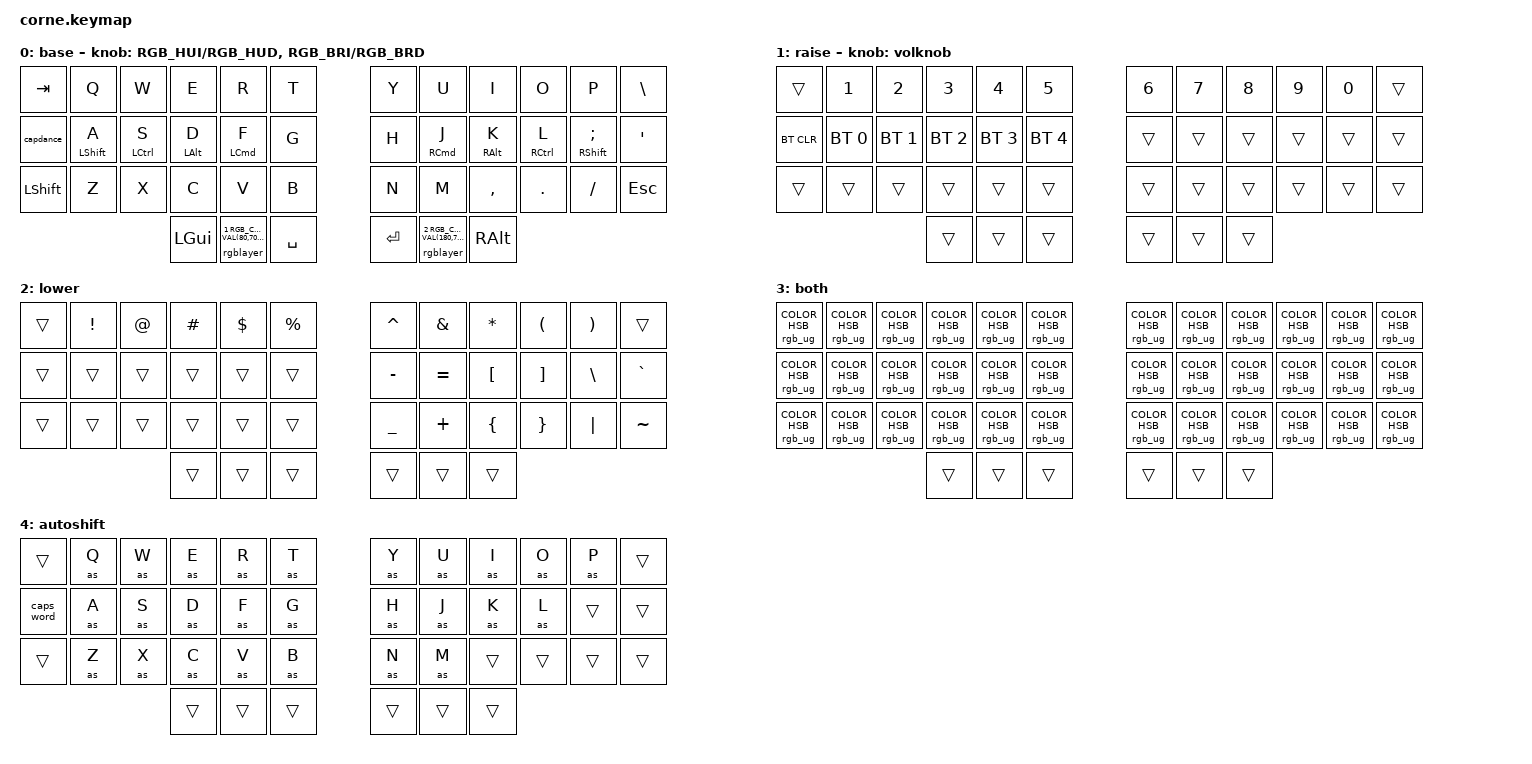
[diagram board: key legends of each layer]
#include <behaviors.dtsi>
#include <dt-bindings/zmk/bt.h>
#include <dt-bindings/zmk/keys.h>
#include <dt-bindings/zmk/rgb.h>

// dt-formatter: indent = "  "
// dt-formatter: multilineIntegerCellsIndent = "reindent"
// dt-formatter: multilineListCommaStyle = "leading"

&sk { /delete-property/ ignore-modifiers; };

/ {
  combos {
    compatible = "zmk,combos";

    tab {
      key-positions = <2 3>;
      bindings = <&kp TAB>;
    };

    ctrl {
      key-positions = <26 27>;
      bindings = <&kp LCTRL>;
    };

    cmd {
      key-positions = <37 38>;
      bindings = <&kp LCMD>;
    };

    alt {
      key-positions = <39 40>;
      bindings = <&kp LEFT_ALT>;
    };

    shift {
      key-positions = <8 9>;
      bindings = <&kp LSHIFT>;
    };

    caps_word {
      key-positions = <17 18>;
      bindings = <&caps_word>;
    };

    delete {
      key-positions = <32 33>;
      bindings = <&kp DEL>;
    };
  };

  macros {
    greeting: greeting {
      compatible = "zmk,behavior-macro";
      #binding-cells = <0>;
      label = "greeting";
      bindings = <&kp H &kp E &kp L &kp L &kp O>;
    };

    rgblayer: rgb_layer {
      compatible = "zmk,behavior-macro-two-param";
      #binding-cells = <2>;
      label = "MOMENTARY_LAYER_WITH_RGB_COLOR";
      bindings
        = <&macro_param_2to2 &rgb_ug RGB_COLOR_HSB_CMD MACRO_PLACEHOLDER &macro_param_1to1>
        , <&macro_press>
        , <&mo MACRO_PLACEHOLDER>
        , <&macro_pause_for_release>
        , <&macro_release>
        , <&macro_param_1to1 &mo MACRO_PLACEHOLDER>
        , <&macro_tap>
        , <&rgb_ug RGB_TOG>
        ;
    };

    shift: with_lshift {
      compatible = "zmk,behavior-macro-one-param";
      #binding-cells = <1>;
      label = "KEY_PRESS_WITH_LEFT_SHIFT_MODIFIER";
      bindings
        = <&macro_press>
        , <&kp LSHFT>
        , <&macro_tap>
        , <&macro_param_1to1 &kp MACRO_PLACEHOLDER>
        , <&macro_release>
        , <&kp LSHFT>
        ;
    };

    as: autoshift {
      compatible = "zmk,behavior-macro-one-param";
      #binding-cells = <1>;
      label = "AUTOSHIFT_KEYPRESS";
      bindings
        = <&macro_press>
        , <&macro_param_1to1 &macro_param_1to2 &as_ht MACRO_PLACEHOLDER MACRO_PLACEHOLDER>
        , <&macro_pause_for_release>
        , <&macro_release>
        , <&macro_param_1to1 &macro_param_1to2 &as_ht MACRO_PLACEHOLDER MACRO_PLACEHOLDER>
        ;
    };
  };

  behaviors {
    as_ht: autoshift_hold_tap {
      compatible = "zmk,behavior-hold-tap";
      #binding-cells = <2>;
      label = "AUTOSHIFT_HOLD_TAP";
      bindings = <&shift>, <&kp>;

      tapping-term-ms = <190>;
    };

    hml: homewrow_mods_left {
      compatible = "zmk,behavior-hold-tap";
      #binding-cells = <2>;
      label = "HOMEROW_MODS_LEFT_HAND";
      bindings = <&kp>, <&kp>;

      tapping-term-ms = <200>;
      hold-trigger-key-positions = <6 7 8 9 10 11 18 19 20 21 22 23 30 31 32 33 34 35 39 40 41>;
    };

    hmr: homewrow_mods_right {
      compatible = "zmk,behavior-hold-tap";
      #binding-cells = <2>;
      label = "HOMEROW_MODS_RIGHT_HAND";
      bindings = <&kp>, <&kp>;

      tapping-term-ms = <200>;
      hold-trigger-key-positions = <0 1 2 3 4 5 12 13 14 15 16 17 24 25 26 27 28 29 36 37 38>;
    };

    capdance: capdance {
      compatible = "zmk,behavior-tap-dance";
      label = "CAPDANCE";
      #binding-cells = <0>;
      bindings = <&caps_word>, <&kp CAPS>;
    };

    volknob: volume_encoder {
      compatible = "zmk,behavior-sensor-rotate";
      label = "ENCODER_VOLUME_KNOB";
      #sensor-binding-cells = <0>;
      bindings = <&kp C_VOL_UP>, <&kp C_VOL_DN>;
    };

    rgbknob: rgb_encoder {
      compatible = "zmk,behavior-sensor-rotate-var";
      label = "ENCODER_RGB";
      #sensor-binding-cells = <2>;
      bindings = <&rgb_ug>, <&rgb_ug>;
    };
  };

  conditional_layers {
    compatible = "zmk,conditional-layers";

    tri_layer {
      if-layers = <1 2>;
      then-layer = <3>;
    };
  };

  keymap {
    compatible = "zmk,keymap";

    base {
      bindings = <
        &kp TAB    &kp Q         &kp W         &kp E        &kp R                                    &kp T        &kp Y    &kp U                                     &kp I        &kp O         &kp P            &kp BSLH
        &capdance  &hml LSHFT A  &hml LCTRL S  &hml LALT D  &hml LCMD F                              &kp G        &kp H    &hmr RCMD J                               &hmr RALT K  &hmr RCTRL L  &hmr RSHFT SEMI  &kp APOS
        &kp LSHFT  &kp Z         &kp X         &kp C        &kp V                                    &kp B        &kp N    &kp M                                     &kp COMMA    &kp DOT       &kp FSLH         &kp ESC
                                               &kp LGUI     &rgblayer 1 RGB_COLOR_HSB_VAL(80,70,50)  &kp SPACE    &kp RET  &rgblayer 2 RGB_COLOR_HSB_VAL(180,70,50)  &kp RALT
      >;

      sensor-bindings = <&rgbknob RGB_HUI RGB_HUD>, <&rgbknob RGB_BRI RGB_BRD>;
    };

    raise {
      bindings = <
        &trans      &kp N1        &kp N2        &kp N3        &kp N4        &kp N5          &kp N6  &kp N7  &kp N8  &kp N9  &kp N0  &trans
        &bt BT_CLR  &bt BT_SEL 0  &bt BT_SEL 1  &bt BT_SEL 2  &bt BT_SEL 3  &bt BT_SEL 4    &trans  &trans  &trans  &trans  &trans  &trans
        &trans      &trans        &trans        &trans        &trans        &trans          &trans  &trans  &trans  &trans  &trans  &trans
                                                &trans        &trans        &trans          &trans  &trans  &trans
      >;

      sensor-bindings = <&volknob>;
    };

    lower {
      bindings = <
        &trans  &kp EXCL  &kp AT  &kp HASH  &kp DLLR  &kp PRCNT    &kp CARET  &kp AMPS   &kp STAR  &kp LPAR  &kp RPAR  &trans
        &trans  &trans    &trans  &trans    &trans    &trans       &kp MINUS  &kp EQUAL  &kp LBKT  &kp RBKT  &kp BSLH  &kp GRAVE
        &trans  &trans    &trans  &trans    &trans    &trans       &kp UNDER  &kp PLUS   &kp LBRC  &kp RBRC  &kp PIPE  &kp TILDE
                                  &trans    &trans    &trans       &trans     &trans     &trans
      >;
    };

    both {
      bindings = <
        &rgb_ug RGB_COLOR_HSB(0,80,60)  &rgb_ug RGB_COLOR_HSB(20,80,60)  &rgb_ug RGB_COLOR_HSB(40,80,60)  &rgb_ug RGB_COLOR_HSB(60,80,60)  &rgb_ug RGB_COLOR_HSB(80,80,60)  &rgb_ug RGB_COLOR_HSB(100,80,60)    &rgb_ug RGB_COLOR_HSB(120,80,60)  &rgb_ug RGB_COLOR_HSB(140,80,60)  &rgb_ug RGB_COLOR_HSB(160,80,60)  &rgb_ug RGB_COLOR_HSB(180,80,60)  &rgb_ug RGB_COLOR_HSB(200,80,60)  &rgb_ug RGB_COLOR_HSB(220,80,60)
        &rgb_ug RGB_COLOR_HSB(0,60,40)  &rgb_ug RGB_COLOR_HSB(20,60,40)  &rgb_ug RGB_COLOR_HSB(40,60,40)  &rgb_ug RGB_COLOR_HSB(60,60,40)  &rgb_ug RGB_COLOR_HSB(80,60,40)  &rgb_ug RGB_COLOR_HSB(100,60,40)    &rgb_ug RGB_COLOR_HSB(120,60,40)  &rgb_ug RGB_COLOR_HSB(140,60,40)  &rgb_ug RGB_COLOR_HSB(160,60,40)  &rgb_ug RGB_COLOR_HSB(180,60,40)  &rgb_ug RGB_COLOR_HSB(200,60,40)  &rgb_ug RGB_COLOR_HSB(220,60,40)
        &rgb_ug RGB_COLOR_HSB(0,80,30)  &rgb_ug RGB_COLOR_HSB(20,80,30)  &rgb_ug RGB_COLOR_HSB(40,80,30)  &rgb_ug RGB_COLOR_HSB(60,80,30)  &rgb_ug RGB_COLOR_HSB(80,80,30)  &rgb_ug RGB_COLOR_HSB(100,80,30)    &rgb_ug RGB_COLOR_HSB(120,80,30)  &rgb_ug RGB_COLOR_HSB(140,80,30)  &rgb_ug RGB_COLOR_HSB(160,80,30)  &rgb_ug RGB_COLOR_HSB(180,80,30)  &rgb_ug RGB_COLOR_HSB(200,80,30)  &rgb_ug RGB_COLOR_HSB(220,80,30)
                                                                                                          &trans                           &trans                           &trans                              &trans                            &trans                            &trans
      >;
    };

    autoshift {
      bindings = <
        &trans      &as Q  &as W  &as E   &as R   &as T     &as Y   &as U   &as I   &as O   &as P   &trans
        &caps_word  &as A  &as S  &as D   &as F   &as G     &as H   &as J   &as K   &as L   &trans  &trans
        &trans      &as Z  &as X  &as C   &as V   &as B     &as N   &as M   &trans  &trans  &trans  &trans
                                  &trans  &trans  &trans    &trans  &trans  &trans
      >;
    };
  };
};
